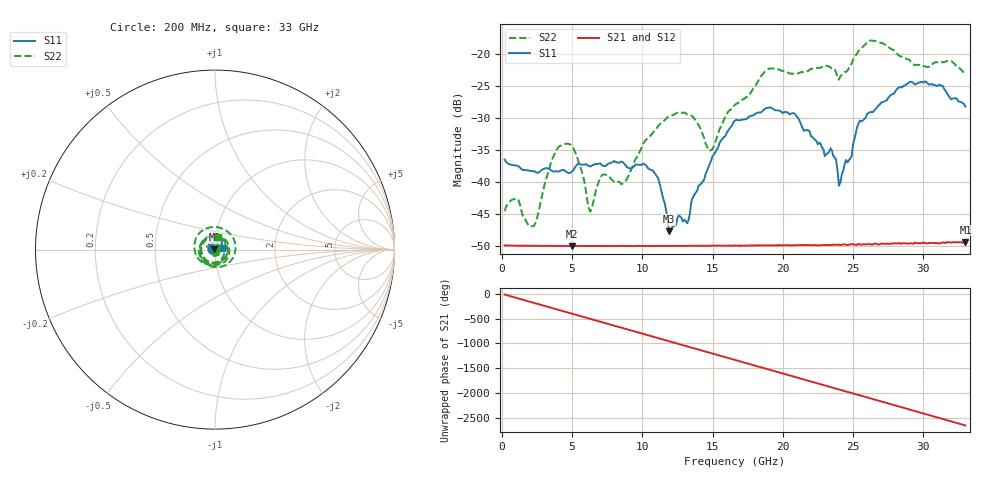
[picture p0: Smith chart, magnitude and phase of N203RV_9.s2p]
# GHZ S RI R 50
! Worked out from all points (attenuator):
!   329 points, 200 MHz to 33 GHz, reference 50 ohm
!   highest |S21| = -49.42 dB at 33 GHz (marker M1); lowest = -50.1 dB at 5 GHz (marker M2)
!   lowest |S11| = -47.8 dB at 11.9 GHz (marker M3), VSWR 1.01, Z = 49.7 + j0.272 ohm
!   |S11| at or under -10 dB: start of sweep to end of sweep
!   |S22| runs from -47.0 to -17.9 dB; largest |S21 - S12| = 7.2e-05
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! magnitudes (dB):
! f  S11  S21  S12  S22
! 200 MHz  -36.5  -50.0  -49.9  -44.6
! 1.1 GHz  -37.4  -50.0  -50.0  -42.6
! 2.3 GHz  -38.4  -50.0  -50.0  -46.9
! 3.8 GHz  -38.4  -50.1  -50.0  -35.4
! 5 GHz  -38.4  -50.1  -50.1  -34.5
! 5.7 GHz  -37.3  -50.0  -50.0  -38.4
! 6.3 GHz  -37.6  -50.1  -50.0  -44.7
! 7.1 GHz  -37.3  -50.1  -50.0  -39.0
! 8.8 GHz  -37.4  -50.1  -50.0  -40.0
! 11.2 GHz  -40.0  -50.0  -50.0  -31.1
! 11.9 GHz  -47.8  -50.0  -50.0  -29.7
! 13.2 GHz  -46.5  -50.0  -50.0  -29.4
! 14.8 GHz  -37.2  -50.0  -50.0  -35.2
! 16.6 GHz  -30.4  -50.0  -50.0  -27.9
! 19.1 GHz  -28.3  -50.0  -50.0  -22.2
! 22.1 GHz  -33.0  -49.9  -49.9  -22.3
! 23.5 GHz  -35.1  -49.9  -49.8  -22.4
! 24 GHz  -40.6  -49.8  -49.9  -24.0
! 25.5 GHz  -30.4  -49.8  -49.8  -19.3
! 27.6 GHz  -26.6  -49.7  -49.7  -19.0
! 30.1 GHz  -24.3  -49.6  -49.6  -21.9
! 33 GHz  -28.2  -49.4  -49.4  -23.1
